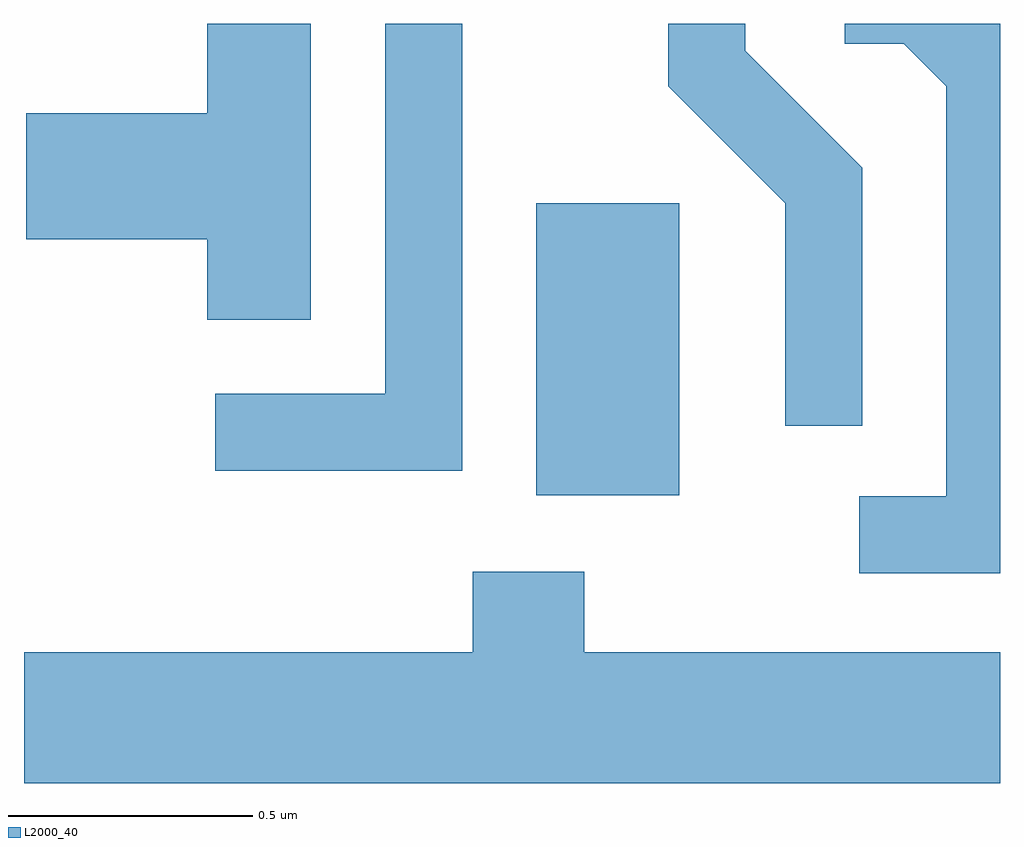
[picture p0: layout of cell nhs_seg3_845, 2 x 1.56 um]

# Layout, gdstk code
import gdstk
lib = gdstk.Library(unit=1e-6, precision=1e-09)
def R(c, l, rs):  # rectangles x0, y0, x1, y1
    for r in rs: c.add(gdstk.rectangle(r[:2], r[2:], *l))
def P(c, l, *ps):  # polygons
    for p in ps: c.add(gdstk.Polygon(p, *l))
L2000_40 = (2000, 40)

nhs_seg3_845 = lib.new_cell('nhs_seg3_845')
R(nhs_seg3_845, L2000_40, [(192.661,1139.926,192.954,1140.524)])
P(nhs_seg3_845, L2000_40, [(192.199,1140.892),(191.986,1140.892),(191.986,1140.709),(191.616,1140.709),(191.616,1140.451),(191.986,1140.451),(191.986,1140.286),(192.199,1140.286)],
  [(193.611,1140.892),(193.293,1140.892),(193.293,1140.851),(193.414,1140.851),(193.501,1140.764),(193.501,1139.924),(193.323,1139.924),(193.323,1139.766),(193.611,1139.766)],
  [(192.509,1140.892),(192.351,1140.892),(192.351,1140.134),(192.003,1140.134),(192.003,1139.976),(192.509,1139.976)],
  [(193.329,1140.597),(193.089,1140.837),(193.089,1140.892),(192.931,1140.892),(192.931,1140.764),(193.171,1140.524),(193.171,1140.068),(193.329,1140.068)],
  [(193.611,1139.604),(192.759,1139.604),(192.759,1139.769),(192.531,1139.769),(192.531,1139.604),(191.611,1139.604),(191.611,1139.336),(193.611,1139.336)])

lib.write_gds('nhs_seg3_845.gds')
